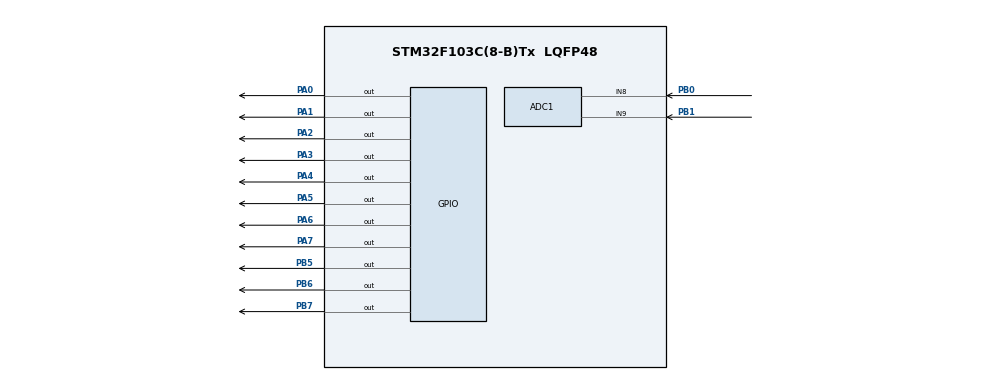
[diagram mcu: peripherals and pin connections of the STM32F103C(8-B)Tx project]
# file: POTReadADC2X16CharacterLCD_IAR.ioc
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ADC1.Channel-2\#ChannelRegularConversion=ADC_CHANNEL_8
ADC1.Channel-3\#ChannelRegularConversion=ADC_CHANNEL_9
ADC1.NbrOfConversion=2
ADC1.NbrOfConversionFlag=1
ADC1.Rank-2\#ChannelRegularConversion=1
ADC1.Rank-3\#ChannelRegularConversion=2
ADC1.SamplingTime-2\#ChannelRegularConversion=ADC_SAMPLETIME_1CYCLE_5
ADC1.SamplingTime-3\#ChannelRegularConversion=ADC_SAMPLETIME_239CYCLES_5
ADC1.master=1
Mcu.Family=STM32F1
Mcu.Name=STM32F103C(8-B)Tx
Mcu.Package=LQFP48
NVIC.PriorityGroup=NVIC_PRIORITYGROUP_4
PA0-WKUP.Signal=GPIO_Output
PA1.Signal=GPIO_Output
PA13.Mode=Serial_Wire
PA13.Signal=SYS_JTMS-SWDIO
PA14.Mode=Serial_Wire
PA14.Signal=SYS_JTCK-SWCLK
PA2.Signal=GPIO_Output
PA3.Signal=GPIO_Output
PA4.Signal=GPIO_Output
PA5.Signal=GPIO_Output
PA6.Signal=GPIO_Output
PA7.Signal=GPIO_Output
PB0.Signal=ADCx_IN8
PB1.Signal=ADCx_IN9
PB5.Signal=GPIO_Output
PB6.Signal=GPIO_Output
PB7.Signal=GPIO_Output
PD0-OSC_IN.Mode=HSE-External-Oscillator
PD0-OSC_IN.Signal=RCC_OSC_IN
PD1-OSC_OUT.Mode=HSE-External-Oscillator
PD1-OSC_OUT.Signal=RCC_OSC_OUT
ProjectManager.HeapSize=0x200
ProjectManager.StackSize=0x400
ProjectManager.TargetToolchain=EWARM V8.32
RCC.APB1Freq_Value=8000000
RCC.APB2Freq_Value=8000000
SH.ADCx_IN8.0=ADC1_IN8,IN8
SH.ADCx_IN9.0=ADC1_IN9,IN9
board=custom

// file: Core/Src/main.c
/* USER CODE BEGIN Header */
/**
  ******************************************************************************
  * @file           : main.c
  * @brief          : Main program body
  ******************************************************************************
  * @attention
  *
  * Copyright (c) 2023 STMicroelectronics.
  * All rights reserved.
  *
  * This software is licensed under terms that can be found in the LICENSE file
  * in the root directory of this software component.
  * If no LICENSE file comes with this software, it is provided AS-IS.
  *
  ******************************************************************************
  */
/* USER CODE END Header */
#include "main.h"

/* USER CODE BEGIN Includes */

#include <stdio.h>
#include "LCD/lcd.h"

/* USER CODE END Includes */

ADC_HandleTypeDef hadc1;

void SystemClock_Config(void);
static void MX_GPIO_Init(void);
static void MX_ADC1_Init(void);

/* USER CODE BEGIN 0 */

char str[17];
float Voltage = 0.0f;

/* USER CODE END 0 */

int main(void)
{

  /* MCU Configuration--------------------------------------------------------*/

  /* Reset of all peripherals, Initializes the Flash interface and the Systick. */
  HAL_Init();

  /* Configure the system clock */
  SystemClock_Config();

  /* Initialize all configured peripherals */
  MX_GPIO_Init();
  MX_ADC1_Init();
  /* USER CODE BEGIN 2 */

  lcd_init();
  lcd_clear();

  lcd_gotoxy(0,0);
  lcd_puts("  dibadigital  ");
  HAL_Delay(2000);
  lcd_clear();

  /* USER CODE END 2 */

  /* Infinite loop */
  /* USER CODE BEGIN WHILE */
  while (1)
  {
    hadc1.Init.NbrOfConversion = 1;
    HAL_ADC_Init(&hadc1);
    HAL_ADC_Start(&hadc1);
    if(HAL_ADC_PollForConversion(&hadc1, 10) == HAL_OK)
    {
      Voltage = HAL_ADC_GetValue(&hadc1);
      Voltage = (Voltage / 4095) * 3.3;

      sprintf(str, "V1= %0.2f", Voltage);
      lcd_gotoxy(0, 0);
      lcd_puts(str);
    }
    HAL_ADC_Stop(&hadc1);

    hadc1.Init.NbrOfConversion = 2;
    HAL_ADC_Init(&hadc1);
    HAL_ADC_Start(&hadc1);
    if(HAL_ADC_PollForConversion(&hadc1, 10) == HAL_OK)
    {
      Voltage = HAL_ADC_GetValue(&hadc1);
      Voltage = (Voltage / 4095) * 3.3;

      sprintf(str, "V2= %0.2f", Voltage);
      lcd_gotoxy(0, 1);
      lcd_puts(str);
    }
    HAL_ADC_Stop(&hadc1);

    HAL_Delay(200);

    /* USER CODE END WHILE */

  }
}

void SystemClock_Config(void)
{
  RCC_OscInitTypeDef RCC_OscInitStruct = {0};
  RCC_ClkInitTypeDef RCC_ClkInitStruct = {0};
  RCC_PeriphCLKInitTypeDef PeriphClkInit = {0};

  /** Initializes the RCC Oscillators according to the specified parameters
  * in the RCC_OscInitTypeDef structure.
  */
  RCC_OscInitStruct.OscillatorType = RCC_OSCILLATORTYPE_HSI;
  RCC_OscInitStruct.HSIState = RCC_HSI_ON;
  RCC_OscInitStruct.HSICalibrationValue = RCC_HSICALIBRATION_DEFAULT;
  RCC_OscInitStruct.PLL.PLLState = RCC_PLL_NONE;
  if (HAL_RCC_OscConfig(&RCC_OscInitStruct) != HAL_OK)
  {
    Error_Handler();
  }

  /** Initializes the CPU, AHB and APB buses clocks
  */
  RCC_ClkInitStruct.ClockType = RCC_CLOCKTYPE_HCLK|RCC_CLOCKTYPE_SYSCLK
                              |RCC_CLOCKTYPE_PCLK1|RCC_CLOCKTYPE_PCLK2;
  RCC_ClkInitStruct.SYSCLKSource = RCC_SYSCLKSOURCE_HSI;
  RCC_ClkInitStruct.AHBCLKDivider = RCC_SYSCLK_DIV1;
  RCC_ClkInitStruct.APB1CLKDivider = RCC_HCLK_DIV1;
  RCC_ClkInitStruct.APB2CLKDivider = RCC_HCLK_DIV1;

  if (HAL_RCC_ClockConfig(&RCC_ClkInitStruct, FLASH_LATENCY_0) != HAL_OK)
  {
    Error_Handler();
  }
  PeriphClkInit.PeriphClockSelection = RCC_PERIPHCLK_ADC;
  PeriphClkInit.AdcClockSelection = RCC_ADCPCLK2_DIV2;
  if (HAL_RCCEx_PeriphCLKConfig(&PeriphClkInit) != HAL_OK)
  {
    Error_Handler();
  }
}

static void MX_ADC1_Init(void)
{

  ADC_ChannelConfTypeDef sConfig = {0};

  /** Common config
  */
  hadc1.Instance = ADC1;
  hadc1.Init.ScanConvMode = ADC_SCAN_ENABLE;
  hadc1.Init.ContinuousConvMode = DISABLE;
  hadc1.Init.DiscontinuousConvMode = DISABLE;
  hadc1.Init.ExternalTrigConv = ADC_SOFTWARE_START;
  hadc1.Init.DataAlign = ADC_DATAALIGN_RIGHT;
  hadc1.Init.NbrOfConversion = 2;
  if (HAL_ADC_Init(&hadc1) != HAL_OK)
  {
    Error_Handler();
  }

  /** Configure Regular Channel
  */
  sConfig.Channel = ADC_CHANNEL_8;
  sConfig.Rank = ADC_REGULAR_RANK_1;
  sConfig.SamplingTime = ADC_SAMPLETIME_1CYCLE_5;
  if (HAL_ADC_ConfigChannel(&hadc1, &sConfig) != HAL_OK)
  {
    Error_Handler();
  }

  /** Configure Regular Channel
  */
  sConfig.Channel = ADC_CHANNEL_9;
  sConfig.Rank = ADC_REGULAR_RANK_2;
  sConfig.SamplingTime = ADC_SAMPLETIME_239CYCLES_5;
  if (HAL_ADC_ConfigChannel(&hadc1, &sConfig) != HAL_OK)
  {
    Error_Handler();
  }

}

static void MX_GPIO_Init(void)
{
  GPIO_InitTypeDef GPIO_InitStruct = {0};

  /* GPIO Ports Clock Enable */
  __HAL_RCC_GPIOD_CLK_ENABLE();
  __HAL_RCC_GPIOA_CLK_ENABLE();
  __HAL_RCC_GPIOB_CLK_ENABLE();

  /*Configure GPIO pin Output Level */
  HAL_GPIO_WritePin(GPIOA, GPIO_PIN_0|GPIO_PIN_1|GPIO_PIN_2|GPIO_PIN_3
                          |GPIO_PIN_4|GPIO_PIN_5|GPIO_PIN_6|GPIO_PIN_7, GPIO_PIN_RESET);

  /*Configure GPIO pin Output Level */
  HAL_GPIO_WritePin(GPIOB, GPIO_PIN_5|GPIO_PIN_6|GPIO_PIN_7, GPIO_PIN_RESET);

  /*Configure GPIO pins : PA0 PA1 PA2 PA3
                           PA4 PA5 PA6 PA7 */
  GPIO_InitStruct.Pin = GPIO_PIN_0|GPIO_PIN_1|GPIO_PIN_2|GPIO_PIN_3
                          |GPIO_PIN_4|GPIO_PIN_5|GPIO_PIN_6|GPIO_PIN_7;
  GPIO_InitStruct.Mode = GPIO_MODE_OUTPUT_PP;
  GPIO_InitStruct.Pull = GPIO_NOPULL;
  GPIO_InitStruct.Speed = GPIO_SPEED_FREQ_LOW;
  HAL_GPIO_Init(GPIOA, &GPIO_InitStruct);

  /*Configure GPIO pins : PB5 PB6 PB7 */
  GPIO_InitStruct.Pin = GPIO_PIN_5|GPIO_PIN_6|GPIO_PIN_7;
  GPIO_InitStruct.Mode = GPIO_MODE_OUTPUT_PP;
  GPIO_InitStruct.Pull = GPIO_NOPULL;
  GPIO_InitStruct.Speed = GPIO_SPEED_FREQ_LOW;
  HAL_GPIO_Init(GPIOB, &GPIO_InitStruct);

}

void Error_Handler(void)
{
  __disable_irq();
  while (1)
  {
  }
}
